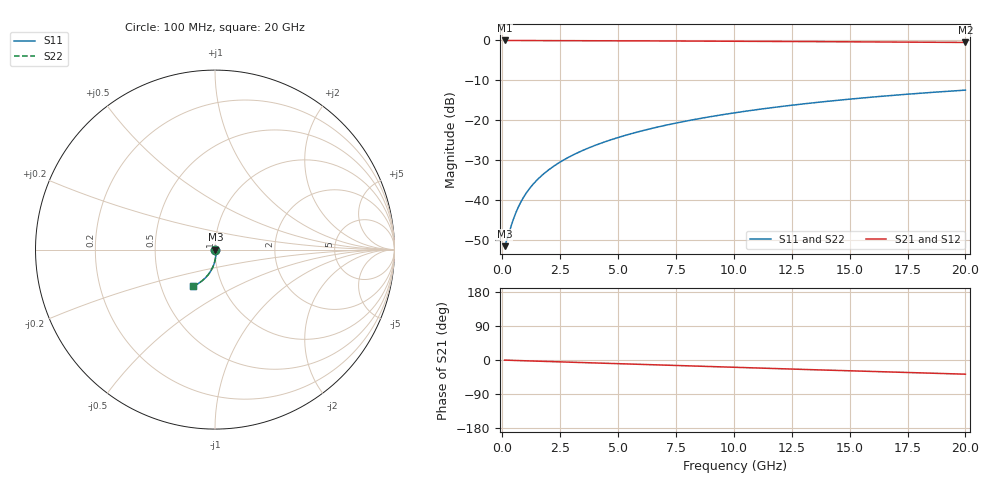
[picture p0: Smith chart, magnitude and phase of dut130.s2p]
! Touchstone file exported from HFSS 2026.1.0
!  File:  C:/ffzhzh/LocalFiles/Ansys_Project_Files/temp_train_BSMRDL_130_1782986200_41620.aedt
!  Generated:  05:57:53 PM Jul  2, 2026
!  Design:  BSMRDL
!  Project:  temp_train_BSMRDL_130_1782986200_41620
! Variables:
!  h_bsmrdl = 3.32um
!  h_ox = 20um
!  h_rdl = 5um
!  h_sub = 80um
!  h_tmrdl = 5um
!  h_tsv = 80um
!  h_via = 3um
!  l_bsmrdl = 603.23um
!  l_sub = 1003.23um
!  l_tmrdl = 200um
!  m_sub = 200um
!  pitch = 30.68um
!  r_tsv = 6um
!  s_tmrdl = 10um
!  w_bsmrdl = 29.2um
!  w_sub = 500um
!  w_tmrdl = 12um
!  x_tsv_center1 = 206um
!  x_tsv_center2 = 838.43um
!  x_tsv_center3 = 1050.43um
!  x_tsv_center4 = 1682.86um
!  x_tsv_center5 = 1894.86um
!  x_tsv_center6 = 2527.29um
# GHz S MA R 50.000000
! Terminal data exported
! Port[1] = BSM_RDL1_1_T1
! Port[2] = BSM_RDL1_1_T2
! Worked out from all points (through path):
!   200 points, 100 MHz to 20 GHz, reference 50 ohm
!   highest |S21| = -0.02 dB at 100 MHz (marker M1); lowest = -0.5 dB at 20 GHz (marker M2)
!   group delay of S21, straight-line fit = 5.18 ps
!   lowest |S11| = -51.6 dB at 100 MHz (marker M3), VSWR 1.01, Z = 50.3 - j0.0354 ohm
!   |S11| at or under -10 dB: start of sweep to end of sweep
!   |S22| runs from -51.6 to -12.5 dB; largest |S21 - S12| = 2.1e-15
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0.1  0.002622 -7.7  0.9974 -0.2  0.9974 -0.2  0.002622 -7.7
! Gamma 0 0 0 0
! Port Impedance 50 0 50 0
0.2  0.003152 -16.2  0.997 -0.5  0.997 -0.5  0.003151 -16.2
0.4  0.004885 -32.6  0.9958 -0.9  0.9958 -0.9  0.004884 -32.6
0.5  0.005938 -39.5  0.9953 -1.1  0.9953 -1.1  0.005937 -39.5
0.6  0.007051 -45.3  0.9949 -1.3  0.9949 -1.3  0.00705 -45.3
0.7  0.008199 -50.2  0.9946 -1.5  0.9946 -1.5  0.008198 -50.2
0.9  0.01055 -57.7  0.994 -1.9  0.994 -1.9  0.01055 -57.7
1.2  0.01413 -65.4  0.9935 -2.5  0.9935 -2.5  0.01412 -65.4
1.6  0.01893 -71.9  0.9929 -3.2  0.9929 -3.2  0.01892 -71.9
2.1  0.02495 -77.0  0.9923 -4.2  0.9923 -4.2  0.02494 -77.0
2.7  0.03221 -81.1  0.9915 -5.4  0.9915 -5.4  0.0322 -81.1
3.5  0.04196 -84.9  0.9904 -6.9  0.9904 -6.9  0.04195 -84.9
4.2  0.05056 -87.4  0.9891 -8.3  0.9891 -8.3  0.05054 -87.4
5  0.06046 -89.8  0.9876 -9.8  0.9876 -9.8  0.06044 -89.8
5.9  0.07168 -92.2  0.9857 -11.6  0.9857 -11.6  0.07165 -92.2
6.8  0.08295 -94.4  0.9836 -13.3  0.9836 -13.3  0.08292 -94.4
8.3  0.1018 -97.8  0.9798 -16.1  0.9798 -16.1  0.1017 -97.8
10.1  0.1242 -101.6  0.9748 -19.5  0.9748 -19.5  0.1242 -101.7
11.7  0.1439 -105.0  0.9701 -22.5  0.9701 -22.5  0.1439 -105.1
13.4  0.1644 -108.4  0.9648 -25.6  0.9648 -25.6  0.1643 -108.5
16.7  0.2024 -114.8  0.9538 -31.6  0.9538 -31.6  0.2023 -115.0
20  0.2377 -121.1  0.942 -37.4  0.942 -37.4  0.2375 -121.2
